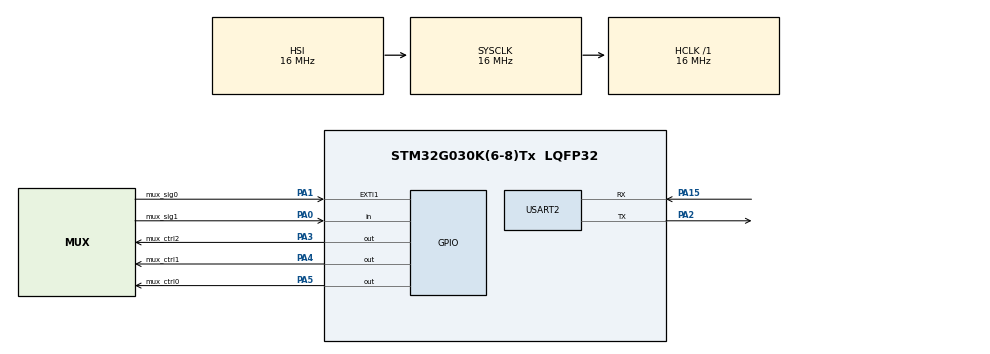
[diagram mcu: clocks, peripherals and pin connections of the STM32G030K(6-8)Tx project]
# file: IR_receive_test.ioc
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Mcu.Family=STM32G0
Mcu.Name=STM32G030K(6-8)Tx
Mcu.Package=LQFP32
NVIC.TIM1_BRK_UP_TRG_COM_IRQn=true\:0\:0\:false\:false\:true\:true\:true\:true
PA0.GPIO_Label=mux_sig1
PA0.Signal=GPIO_Input
PA1.GPIO_Label=mux_sig0
PA1.Signal=GPXTI1
PA15.Mode=Asynchronous
PA15.Signal=USART2_RX
PA2.Mode=Asynchronous
PA2.Signal=USART2_TX
PA3.GPIO_Label=mux_ctrl2
PA3.Signal=GPIO_Output
PA4.GPIO_Label=mux_ctrl1
PA4.Signal=GPIO_Output
PA5.GPIO_Label=mux_ctrl0
PA5.Signal=GPIO_Output
ProjectManager.HeapSize=0x200
ProjectManager.StackSize=0x400
ProjectManager.TargetToolchain=STM32CubeIDE
RCC.AHBFreq_Value=16000000
RCC.CortexFreq_Value=16000000
RCC.EXTERNAL_CLOCK_VALUE=12288000
RCC.HCLKFreq_Value=16000000
RCC.HSE_VALUE=8000000
RCC.HSI_VALUE=16000000
RCC.LSE_VALUE=32768
RCC.SYSCLKFreq_VALUE=16000000
RCC.VCOOutputFreq_Value=128000000
TIM1.AutoReloadPreload=TIM_AUTORELOAD_PRELOAD_ENABLE
TIM1.Period=256-1
TIM1.Prescaler=1600-1
USART2.VirtualMode-Asynchronous=VM_ASYNC
VP_TIM1_VS_ClockSourceINT.Mode=Internal
board=custom

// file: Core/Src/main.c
/* USER CODE BEGIN Header */
/**
  ******************************************************************************
  * @file           : main.c
  * @brief          : Main program body
  ******************************************************************************
  * @attention
  *
  * Copyright (c) 2024 STMicroelectronics.
  * All rights reserved.
  *
  * This software is licensed under terms that can be found in the LICENSE file
  * in the root directory of this software component.
  * If no LICENSE file comes with this software, it is provided AS-IS.
  *
  ******************************************************************************
  */
/* USER CODE END Header */
#include "main.h"

TIM_HandleTypeDef htim1;

UART_HandleTypeDef huart2;

/* USER CODE BEGIN PV */
uint32_t overflow_counter = 0;
uint32_t now = 0;
uint32_t pre = 0;
uint32_t IR_count[17] = {
		0, 0, 0, 0, 0, 0, 0, 0, 0, 0, 0, 0, 0, 0, 0, 0, 0
};
uint32_t IR_intensity[16] = {
		0, 0, 0, 0, 0, 0, 0, 0, 0, 0, 0, 0, 0, 0, 0, 0
};
uint8_t max = 0;

/* USER CODE END PV */

void SystemClock_Config(void);
static void MX_GPIO_Init(void);
static void MX_TIM1_Init(void);
static void MX_USART2_UART_Init(void);

/* USER CODE BEGIN 0 */
uint32_t time_counter(){
   return (overflow_counter << 8) + TIM1->CNT;
 }

 void HAL_TIM_PeriodElapsedCallback(TIM_HandleTypeDef *htim){
     if (htim == &htim1){
         overflow_counter++;
     }
 }

/* USER CODE END 0 */

int main(void)
{

  /* MCU Configuration--------------------------------------------------------*/

  /* Reset of all peripherals, Initializes the Flash interface and the Systick. */
  HAL_Init();

  /* Configure the system clock */
  SystemClock_Config();

  /* Initialize all configured peripherals */
  MX_GPIO_Init();
  MX_TIM1_Init();
  MX_USART2_UART_Init();
  /* USER CODE BEGIN 2 */
  HAL_TIM_Base_Start_IT(&htim1);

  /* USER CODE END 2 */

  /* Infinite loop */
  while (1)
  {

    /* USER CODE BEGIN 3 */
	  now = time_counter();
	  pre = time_counter();
	  while(now - pre < 10){
		  now = time_counter();
		  IR_count[16]++;
		  for(uint8_t i = 0; i < 2; i++){
			  for(uint8_t j = 0; j < 2; j++){
				  for(uint8_t k = 0; k < 2; k++){
					  HAL_GPIO_WritePin(mux_ctrl0_GPIO_Port, mux_ctrl0_Pin, k);
					  HAL_GPIO_WritePin(mux_ctrl1_GPIO_Port, mux_ctrl1_Pin, j);
					  HAL_GPIO_WritePin(mux_ctrl2_GPIO_Port, mux_ctrl2_Pin, i);
					  if(i == 0 && j == 0 && k == 0){
						  if(HAL_GPIO_ReadPin(mux_sig0_GPIO_Port, mux_sig0_Pin) == 0){
							  IR_count[0]++;
						  }
						  if(HAL_GPIO_ReadPin(mux_sig1_GPIO_Port, mux_sig1_Pin) == 0){
							  IR_count[8]++;
						  }
					  }
					  if(i == 0 && j == 0 && k == 1){
						  if(HAL_GPIO_ReadPin(mux_sig0_GPIO_Port, mux_sig0_Pin) == 0){
							  IR_count[1]++;
						  }
						  if(HAL_GPIO_ReadPin(mux_sig1_GPIO_Port, mux_sig1_Pin) == 0){
							  IR_count[9]++;
						  }
					  }
					  if(i == 0 && j == 1 && k == 0){
						  if(HAL_GPIO_ReadPin(mux_sig0_GPIO_Port, mux_sig0_Pin) == 0){
							  IR_count[2]++;
						  }
						  if(HAL_GPIO_ReadPin(mux_sig1_GPIO_Port, mux_sig1_Pin) == 0){
							  IR_count[10]++;
						  }
					  }
					  if(i == 0 && j == 1 && k == 1){
						  if(HAL_GPIO_ReadPin(mux_sig0_GPIO_Port, mux_sig0_Pin) == 0){
							  IR_count[3]++;
						  }
						  if(HAL_GPIO_ReadPin(mux_sig1_GPIO_Port, mux_sig1_Pin) == 0){
							  IR_count[11]++;
						  }
					  }
					  if(i == 1 && j == 0 && k == 0){
						  if(HAL_GPIO_ReadPin(mux_sig0_GPIO_Port, mux_sig0_Pin) == 0){
							  IR_count[4]++;
						  }
						  if(HAL_GPIO_ReadPin(mux_sig1_GPIO_Port, mux_sig1_Pin) == 0){
							  IR_count[12]++;
						  }
					  }
					  if(i == 1 && j == 0 && k == 1){
						  if(HAL_GPIO_ReadPin(mux_sig0_GPIO_Port, mux_sig0_Pin) == 0){
							  IR_count[5]++;
						  }
						  if(HAL_GPIO_ReadPin(mux_sig1_GPIO_Port, mux_sig1_Pin) == 0){
							  IR_count[13]++;
						  }
					  }
					  if(i == 1 && j == 1 && k == 0){
						  if(HAL_GPIO_ReadPin(mux_sig0_GPIO_Port, mux_sig0_Pin) == 0){
							  IR_count[6]++;
						  }
						  if(HAL_GPIO_ReadPin(mux_sig1_GPIO_Port, mux_sig1_Pin) == 0){
							  IR_count[14]++;
						  }
					  }
					  if(i == 1 && j == 1 && k == 1){
						  if(HAL_GPIO_ReadPin(mux_sig0_GPIO_Port, mux_sig0_Pin) == 0){
							  IR_count[7]++;
						  }
						  if(HAL_GPIO_ReadPin(mux_sig1_GPIO_Port, mux_sig1_Pin) == 0){
							  IR_count[15]++;
						  }
					  }
				  }
			  }
		  }
	  }
	  for(uint8_t l = 0; l < 16; l++){
		  IR_intensity[l] = IR_count[l] * 256 / IR_count[16];
	  }
	  for(uint8_t m = 0; m < 17; m++){
		  IR_count[m] = 0;
	  }

	  max = 0;
	  for(uint8_t n = 0; n < 16; n++){
		  if(IR_intensity[max] < IR_intensity[n]){
			  max = n;
		  }
	  }
	  HAL_UART_Transmit(&huart2, &max, 1, 100);

  }
  /* USER CODE END 3 */
}

void SystemClock_Config(void)
{
  RCC_OscInitTypeDef RCC_OscInitStruct = {0};
  RCC_ClkInitTypeDef RCC_ClkInitStruct = {0};

  /** Configure the main internal regulator output voltage
  */
  HAL_PWREx_ControlVoltageScaling(PWR_REGULATOR_VOLTAGE_SCALE1);

  /** Initializes the RCC Oscillators according to the specified parameters
  * in the RCC_OscInitTypeDef structure.
  */
  RCC_OscInitStruct.OscillatorType = RCC_OSCILLATORTYPE_HSI;
  RCC_OscInitStruct.HSIState = RCC_HSI_ON;
  RCC_OscInitStruct.HSIDiv = RCC_HSI_DIV1;
  RCC_OscInitStruct.HSICalibrationValue = RCC_HSICALIBRATION_DEFAULT;
  RCC_OscInitStruct.PLL.PLLState = RCC_PLL_NONE;
  if (HAL_RCC_OscConfig(&RCC_OscInitStruct) != HAL_OK)
  {
    Error_Handler();
  }

  /** Initializes the CPU, AHB and APB buses clocks
  */
  RCC_ClkInitStruct.ClockType = RCC_CLOCKTYPE_HCLK|RCC_CLOCKTYPE_SYSCLK
                              |RCC_CLOCKTYPE_PCLK1;
  RCC_ClkInitStruct.SYSCLKSource = RCC_SYSCLKSOURCE_HSI;
  RCC_ClkInitStruct.AHBCLKDivider = RCC_SYSCLK_DIV1;
  RCC_ClkInitStruct.APB1CLKDivider = RCC_HCLK_DIV1;

  if (HAL_RCC_ClockConfig(&RCC_ClkInitStruct, FLASH_LATENCY_0) != HAL_OK)
  {
    Error_Handler();
  }
}

static void MX_TIM1_Init(void)
{

  TIM_ClockConfigTypeDef sClockSourceConfig = {0};
  TIM_MasterConfigTypeDef sMasterConfig = {0};

  htim1.Instance = TIM1;
  htim1.Init.Prescaler = 1600-1;
  htim1.Init.CounterMode = TIM_COUNTERMODE_UP;
  htim1.Init.Period = 256-1;
  htim1.Init.ClockDivision = TIM_CLOCKDIVISION_DIV1;
  htim1.Init.RepetitionCounter = 0;
  htim1.Init.AutoReloadPreload = TIM_AUTORELOAD_PRELOAD_ENABLE;
  if (HAL_TIM_Base_Init(&htim1) != HAL_OK)
  {
    Error_Handler();
  }
  sClockSourceConfig.ClockSource = TIM_CLOCKSOURCE_INTERNAL;
  if (HAL_TIM_ConfigClockSource(&htim1, &sClockSourceConfig) != HAL_OK)
  {
    Error_Handler();
  }
  sMasterConfig.MasterOutputTrigger = TIM_TRGO_RESET;
  sMasterConfig.MasterOutputTrigger2 = TIM_TRGO2_RESET;
  sMasterConfig.MasterSlaveMode = TIM_MASTERSLAVEMODE_DISABLE;
  if (HAL_TIMEx_MasterConfigSynchronization(&htim1, &sMasterConfig) != HAL_OK)
  {
    Error_Handler();
  }

}

static void MX_USART2_UART_Init(void)
{

  huart2.Instance = USART2;
  huart2.Init.BaudRate = 115200;
  huart2.Init.WordLength = UART_WORDLENGTH_8B;
  huart2.Init.StopBits = UART_STOPBITS_1;
  huart2.Init.Parity = UART_PARITY_NONE;
  huart2.Init.Mode = UART_MODE_TX_RX;
  huart2.Init.HwFlowCtl = UART_HWCONTROL_NONE;
  huart2.Init.OverSampling = UART_OVERSAMPLING_16;
  huart2.Init.OneBitSampling = UART_ONE_BIT_SAMPLE_DISABLE;
  huart2.Init.ClockPrescaler = UART_PRESCALER_DIV1;
  huart2.AdvancedInit.AdvFeatureInit = UART_ADVFEATURE_NO_INIT;
  if (HAL_UART_Init(&huart2) != HAL_OK)
  {
    Error_Handler();
  }

}

static void MX_GPIO_Init(void)
{
  GPIO_InitTypeDef GPIO_InitStruct = {0};

  /* GPIO Ports Clock Enable */
  __HAL_RCC_GPIOA_CLK_ENABLE();

  /*Configure GPIO pin Output Level */
  HAL_GPIO_WritePin(GPIOA, mux_ctrl2_Pin|mux_ctrl1_Pin|mux_ctrl0_Pin, GPIO_PIN_RESET);

  /*Configure GPIO pin : mux_sig1_Pin */
  GPIO_InitStruct.Pin = mux_sig1_Pin;
  GPIO_InitStruct.Mode = GPIO_MODE_INPUT;
  GPIO_InitStruct.Pull = GPIO_NOPULL;
  HAL_GPIO_Init(mux_sig1_GPIO_Port, &GPIO_InitStruct);

  /*Configure GPIO pin : mux_sig0_Pin */
  GPIO_InitStruct.Pin = mux_sig0_Pin;
  GPIO_InitStruct.Mode = GPIO_MODE_IT_RISING;
  GPIO_InitStruct.Pull = GPIO_NOPULL;
  HAL_GPIO_Init(mux_sig0_GPIO_Port, &GPIO_InitStruct);

  /*Configure GPIO pins : mux_ctrl2_Pin mux_ctrl1_Pin mux_ctrl0_Pin */
  GPIO_InitStruct.Pin = mux_ctrl2_Pin|mux_ctrl1_Pin|mux_ctrl0_Pin;
  GPIO_InitStruct.Mode = GPIO_MODE_OUTPUT_PP;
  GPIO_InitStruct.Pull = GPIO_NOPULL;
  GPIO_InitStruct.Speed = GPIO_SPEED_FREQ_LOW;
  HAL_GPIO_Init(GPIOA, &GPIO_InitStruct);

}

void Error_Handler(void)
{
  __disable_irq();
  while (1)
  {
  }
}
